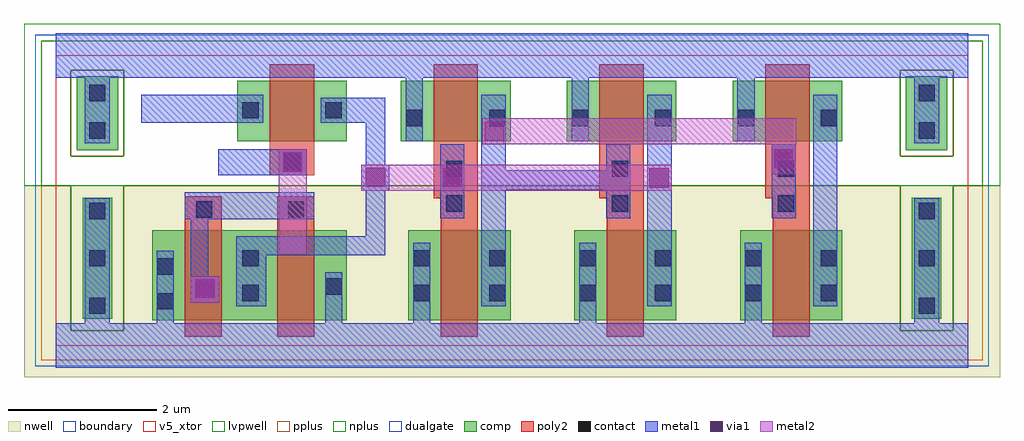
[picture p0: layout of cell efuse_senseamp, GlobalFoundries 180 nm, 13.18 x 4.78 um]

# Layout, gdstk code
import gdstk
lib = gdstk.Library(unit=1e-6, precision=1e-09)
def R(c, l, rs):  # rectangles x0, y0, x1, y1
    for r in rs: c.add(gdstk.rectangle(r[:2], r[2:], *l))
def A(c, l, x, y, w, h, nx, ny, dx, dy):  # array of equal rectangles
    R(c, l, [(x+i*dx, y+j*dy, x+i*dx+w, y+j*dy+h) for i in range(nx) for j in range(ny)])
def P(c, l, *ps):  # polygons
    for p in ps: c.add(gdstk.Polygon(p, *l))
boundary = (0, 0)
nwell = (21, 0)
comp = (22, 0)
poly2 = (30, 0)
pplus = (31, 0)
nplus = (32, 0)
contact = (33, 0)
metal1 = (34, 0)
via1 = (35, 0)
metal2 = (36, 0)
dualgate = (55, 0)
v5_xtor = (112, 1)
lvpwell = (204, 0)

efuse_senseamp = lib.new_cell('efuse_senseamp')
A(efuse_senseamp, boundary, 4.91, 0.43, 2.24, 3.92, 3, 1, 2.24, 0)
R(efuse_senseamp, boundary, [(0.43,0.43,1.55,4.35), (1.55,0.43,4.91,4.35), (11.63,0.43,12.75,4.35)])
A(efuse_senseamp, nwell, 4.48, 0, 3.1, 2.59, 3, 1, 2.24, 0)
R(efuse_senseamp, nwell, [(0,0,1.98,2.59), (1.12,0,5.34,2.59), (11.2,0,13.18,2.59)])
A(efuse_senseamp, comp, 5.19, 0.77, 1.38, 1.22, 3, 1, 2.24, 0)
A(efuse_senseamp, comp, 5.09, 3.19, 1.48, 0.82, 3, 1, 2.24, 0)
R(efuse_senseamp, comp, [(1.73,0.77,4.36,1.99), (0.79,0.79,1.19,2.43), (11.99,0.79,12.39,2.43), (0.71,3.07,1.27,4.07), (11.91,3.07,12.47,4.07), (2.88,3.19,4.36,4.01)])
R(efuse_senseamp, poly2, [(2.17,0.55,2.67,2.314), (3.42,0.55,3.92,2.315), (2.17,2.314,2.67,2.45), (3.42,2.315,3.92,2.45), (3.32,2.73,3.92,4.23)])
P(efuse_senseamp, poly2, [(5.63,0.55),(5.63,2.42),(5.53,2.42),(5.53,4.23),(6.13,4.23),(6.13,0.55)],
  [(7.87,0.55),(7.87,2.42),(7.77,2.42),(7.77,4.23),(8.37,4.23),(8.37,0.55)],
  [(10.11,0.55),(10.11,2.42),(10.01,2.42),(10.01,4.23),(10.61,4.23),(10.61,0.55)])
A(efuse_senseamp, pplus, 4.71, 0.23, 2.64, 2.36, 3, 1, 2.24, 0)
R(efuse_senseamp, pplus, [(1.35,0.23,5.11,2.59), (0.63,2.99,1.35,4.15), (11.83,2.99,12.55,4.15)])
P(efuse_senseamp, pplus, [(0.23,0.23),(0.23,2.59),(0.63,2.59),(0.63,0.63),(1.35,0.63),(1.35,2.59),(1.75,2.59),(1.75,0.23)],
  [(11.43,0.23),(11.43,2.59),(11.83,2.59),(11.83,0.63),(12.55,0.63),(12.55,2.59),(12.95,2.59),(12.95,0.23)])
A(efuse_senseamp, nplus, 4.71, 2.59, 2.64, 1.96, 3, 1, 2.24, 0)
R(efuse_senseamp, nplus, [(1.35,2.59,5.11,4.55)])
P(efuse_senseamp, nplus, [(0.63,0.63),(0.63,2.59),(0.23,2.59),(0.23,4.55),(1.75,4.55),(1.75,2.59),(1.35,2.59),(1.35,0.63),(1.35,4.15),(0.63,4.15),(0.63,2.99),(1.35,2.99),(1.35,0.63)],
  [(11.83,0.63),(11.83,2.59),(11.43,2.59),(11.43,4.55),(12.95,4.55),(12.95,2.59),(12.55,2.59),(12.55,0.63),(12.55,4.15),(11.83,4.15),(11.83,2.99),(12.55,2.99),(12.55,0.63)])
A(efuse_senseamp, contact, 0.88, 0.86, 0.22, 0.22, 1, 3, 0, 0.64)
A(efuse_senseamp, contact, 12.08, 0.86, 0.22, 0.22, 1, 3, 0, 0.64)
A(efuse_senseamp, contact, 5.7, 2.24, 0.22, 0.22, 3, 2, 2.24, 0.47)
A(efuse_senseamp, contact, 5.16, 3.395, 0.22, 0.22, 6, 1, 1.12, 0)
R(efuse_senseamp, contact, [(1.8,0.92,2.02,1.14), (2.95,1.03,3.17,1.25), (5.26,1.03,5.48,1.25), (6.28,1.03,6.5,1.25), (7.5,1.03,7.72,1.25), (8.52,1.03,8.74,1.25), (9.74,1.03,9.96,1.25), (10.76,1.03,10.98,1.25), (4.07,1.12,4.29,1.34), (1.8,1.39,2.02,1.61), (2.95,1.5,3.17,1.72), (5.26,1.5,5.48,1.72), (6.28,1.5,6.5,1.72), (7.5,1.5,7.72,1.72), (8.52,1.5,8.74,1.72), (9.74,1.5,9.96,1.72), (10.76,1.5,10.98,1.72), (2.325,2.16,2.545,2.38), (3.565,2.16,3.785,2.38), (3.515,2.8,3.735,3.02), (0.88,3.225,1.1,3.445), (12.08,3.225,12.3,3.445), (2.95,3.5,3.17,3.72), (4.07,3.5,4.29,3.72), (0.88,3.73,1.1,3.95), (12.08,3.73,12.3,3.95)])
A(efuse_senseamp, metal1, 6.175, 0.96, 0.33, 2.86, 3, 1, 2.24, 0)
A(efuse_senseamp, metal1, 5.62, 2.15, 0.325, 1, 3, 1, 2.24, 0)
R(efuse_senseamp, metal1, [(2.865,0.96,3.27,1.91), (2.255,1.01,2.635,1.37), (2.255,1.37,2.485,1.625), (2.255,1.625,2.485,2.5), (3.27,1.65,4.615,1.91), (4.615,1.65,4.875,3.78), (2.17,2.14,3.92,2.5), (4.555,2.52,4.935,2.87), (6.505,2.535,7.86,2.8), (2.62,2.73,3.82,3.08), (1.585,3.44,3.23,3.82), (4.01,3.44,4.875,3.78), (1.55,4.05,4.91,4.65)])
P(efuse_senseamp, metal1, [(1.55,0.13),(1.55,0.73),(1.795,0.73),(1.795,1.71),(2.025,1.71),(2.025,0.73),(4.065,0.73),(4.065,1.42),(4.295,1.42),(4.295,0.73),(4.91,0.73),(4.91,0.13)],
  [(0.82,3.165),(0.82,4.05),(0.43,4.05),(0.43,4.65),(1.55,4.65),(1.55,4.05),(1.16,4.05),(1.16,3.165)],
  [(0.43,0.13),(0.43,0.73),(0.82,0.73),(0.82,2.42),(1.16,2.42),(1.16,0.73),(1.55,0.73),(1.55,0.13)],
  [(12.02,3.165),(12.02,4.05),(11.63,4.05),(11.63,4.65),(12.75,4.65),(12.75,4.05),(12.36,4.05),(12.36,3.165)],
  [(11.63,0.13),(11.63,0.73),(12.02,0.73),(12.02,2.42),(12.36,2.42),(12.36,0.73),(12.75,0.73),(12.75,0.13)],
  [(4.91,0.13),(4.91,0.73),(5.255,0.73),(5.255,1.82),(5.485,1.82),(5.485,0.73),(7.15,0.73),(7.15,0.13)],
  [(5.155,3.19),(5.155,4.05),(4.91,4.05),(4.91,4.65),(7.15,4.65),(7.15,4.05),(5.385,4.05),(5.385,3.19)],
  [(7.15,0.13),(7.15,0.73),(7.495,0.73),(7.495,1.82),(7.725,1.82),(7.725,0.73),(9.39,0.73),(9.39,0.13)],
  [(7.395,3.19),(7.395,4.05),(7.15,4.05),(7.15,4.65),(9.39,4.65),(9.39,4.05),(7.625,4.05),(7.625,3.19)],
  [(9.39,0.13),(9.39,0.73),(9.735,0.73),(9.735,1.82),(9.965,1.82),(9.965,0.73),(11.63,0.73),(11.63,0.13)],
  [(9.635,3.19),(9.635,4.05),(9.39,4.05),(9.39,4.65),(11.63,4.65),(11.63,4.05),(9.865,4.05),(9.865,3.19)])
R(efuse_senseamp, via1, [(2.315,1.07,2.575,1.33), (8.445,2.565,8.705,2.825), (4.615,2.575,4.875,2.835), (5.655,2.575,5.915,2.835), (3.5,2.78,3.76,3.04), (10.13,2.825,10.39,3.085), (6.225,3.195,6.485,3.455)])
R(efuse_senseamp, metal2, [(2.255,1.01,2.635,1.37), (3.44,1.655,3.82,3.08), (4.555,2.52,5.535,2.87), (5.535,2.52,8.745,2.87), (10.1,2.745,10.425,3.5), (6.185,3.15,9.395,3.5), (9.395,3.15,10.43,3.5)])
A(efuse_senseamp, dualgate, 4.63, 0.15, 2.8, 4.48, 3, 1, 2.24, 0)
R(efuse_senseamp, dualgate, [(0.15,0.15,1.83,4.63), (1.27,0.15,5.19,4.63), (11.35,0.15,13.03,4.63)])
A(efuse_senseamp, v5_xtor, 4.91, 0.43, 2.24, 3.92, 3, 1, 2.24, 0)
R(efuse_senseamp, v5_xtor, [(0.43,0.43,1.55,4.35), (1.55,0.43,4.91,4.35), (11.63,0.43,12.75,4.35)])
A(efuse_senseamp, lvpwell, 4.48, 2.59, 3.1, 2.19, 3, 1, 2.24, 0)
R(efuse_senseamp, lvpwell, [(0,2.59,1.98,4.78), (1.12,2.59,5.34,4.78), (11.2,2.59,13.18,4.78)])

lib.write_gds('efuse_senseamp.gds')
